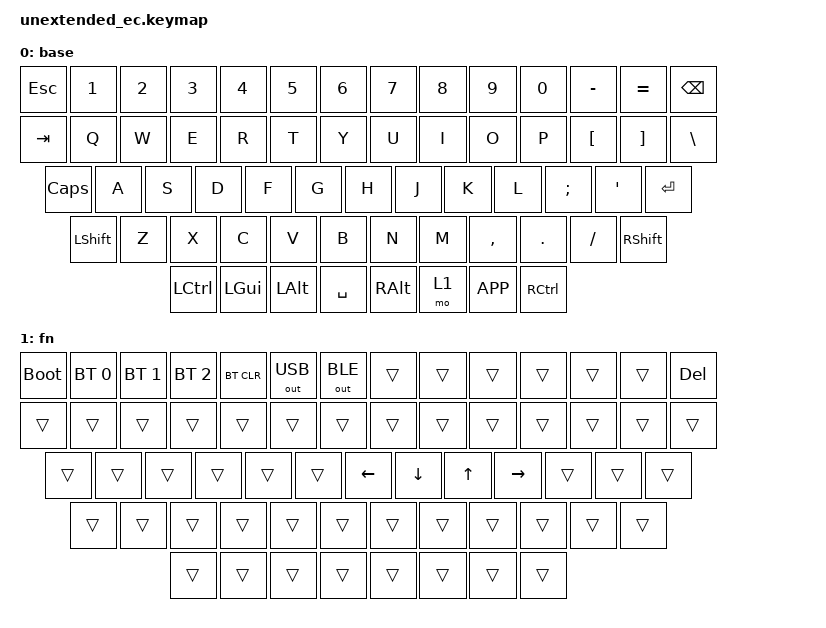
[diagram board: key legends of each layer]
/* UnextendedEC A0 keymap - engineering prototype */
#include <behaviors.dtsi>
#include <dt-bindings/zmk/keys.h>
#include <dt-bindings/zmk/bt.h>
#include <dt-bindings/zmk/outputs.h>
/ { keymap { compatible = "zmk,keymap";
    base { bindings = <
        &kp ESC &kp N1 &kp N2 &kp N3 &kp N4 &kp N5 &kp N6 &kp N7 &kp N8 &kp N9 &kp N0 &kp MINUS &kp EQUAL &kp BSPC
        &kp TAB &kp Q &kp W &kp E &kp R &kp T &kp Y &kp U &kp I &kp O &kp P &kp LBKT &kp RBKT &kp BSLH
        &kp CAPS &kp A &kp S &kp D &kp F &kp G &kp H &kp J &kp K &kp L &kp SEMI &kp SQT &kp RET
        &kp LSHFT &kp Z &kp X &kp C &kp V &kp B &kp N &kp M &kp COMMA &kp DOT &kp FSLH &kp RSHFT
        &kp LCTRL &kp LGUI &kp LALT &kp SPACE &kp RALT &mo 1 &kp K_APP &kp RCTRL
    >; };
    fn { bindings = <
        &bootloader &bt BT_SEL 0 &bt BT_SEL 1 &bt BT_SEL 2 &bt BT_CLR &out OUT_USB &out OUT_BLE &trans &trans &trans &trans &trans &trans &kp DEL
        &trans &trans &trans &trans &trans &trans &trans &trans &trans &trans &trans &trans &trans &trans
        &trans &trans &trans &trans &trans &trans &kp LEFT &kp DOWN &kp UP &kp RIGHT &trans &trans &trans
        &trans &trans &trans &trans &trans &trans &trans &trans &trans &trans &trans &trans
        &trans &trans &trans &trans &trans &trans &trans &trans
    >; };
}; };
